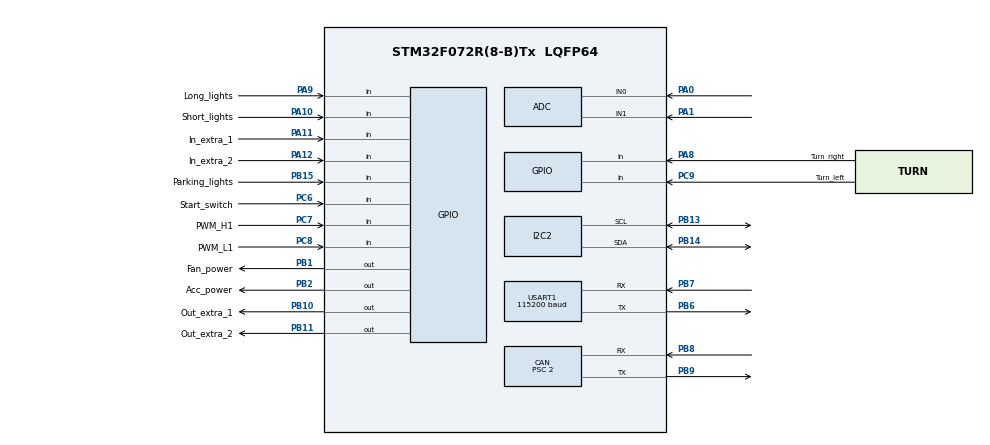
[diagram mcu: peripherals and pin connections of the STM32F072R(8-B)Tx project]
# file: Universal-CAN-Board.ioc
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CAN.BS1=CAN_BS1_4TQ
CAN.BS2=CAN_BS2_8TQ
CAN.CalculateBaudRate=307692
CAN.CalculateTimeBit=3250
CAN.CalculateTimeQuantum=250.0
CAN.Prescaler=2
Mcu.Family=STM32F0
Mcu.Name=STM32F072R(8-B)Tx
Mcu.Package=LQFP64
PA0.Mode=IN0
PA0.Signal=ADC_IN0
PA1.Mode=IN1
PA1.Signal=ADC_IN1
PA10.GPIO_Label=Short_lights
PA10.Signal=GPIO_Input
PA11.GPIO_Label=In_extra_1
PA11.Signal=GPIO_Input
PA12.GPIO_Label=In_extra_2
PA12.Signal=GPIO_Input
PA13.Mode=Serial_Wire
PA13.Signal=SYS_SWDIO
PA14.Mode=Serial_Wire
PA14.Signal=SYS_SWCLK
PA8.GPIO_Label=Turn_right
PA8.Signal=GPIO_Input
PA9.GPIO_Label=Long_lights
PA9.Signal=GPIO_Input
PB1.GPIO_Label=Fan_power
PB1.Signal=GPIO_Output
PB10.GPIO_Label=Out_extra_1
PB10.Signal=GPIO_Output
PB11.GPIO_Label=Out_extra_2
PB11.Signal=GPIO_Output
PB13.Mode=I2C
PB13.Signal=I2C2_SCL
PB14.Mode=I2C
PB14.Signal=I2C2_SDA
PB15.GPIO_Label=Parking_lights
PB15.Signal=GPIO_Input
PB2.GPIO_Label=Acc_power
PB2.Signal=GPIO_Output
PB6.Mode=Asynchronous
PB6.Signal=USART1_TX
PB7.Mode=Asynchronous
PB7.Signal=USART1_RX
PB8.Mode=CAN_Activate
PB8.Signal=CAN_RX
PB9.Mode=CAN_Activate
PB9.Signal=CAN_TX
PC6.GPIO_Label=Start_switch
PC6.Signal=GPIO_Input
PC7.GPIO_Label=PWM_H1
PC7.Signal=GPIO_Input
PC8.GPIO_Label=PWM_L1
PC8.Signal=GPIO_Input
PC9.GPIO_Label=Turn_left
PC9.Signal=GPIO_Input
PF0-OSC_IN.Mode=HSE-External-Oscillator
PF0-OSC_IN.Signal=RCC_OSC_IN
PF1-OSC_OUT.Mode=HSE-External-Oscillator
PF1-OSC_OUT.Signal=RCC_OSC_OUT
ProjectManager.HeapSize=0x200
ProjectManager.StackSize=0x400
ProjectManager.TargetToolchain=STM32CubeIDE
USART1.BaudRate=115200
USART1.VirtualMode-Asynchronous=VM_ASYNC
board=custom

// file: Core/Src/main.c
/* USER CODE BEGIN Header */
/**
  ******************************************************************************
  * @file           : main.c
  * @brief          : Main program body
  ******************************************************************************
  * @attention
  *
  * Copyright (c) 2022 STMicroelectronics.
  * All rights reserved.
  *
  * This software is licensed under terms that can be found in the LICENSE file
  * in the root directory of this software component.
  * If no LICENSE file comes with this software, it is provided AS-IS.
  *
  ******************************************************************************
  */
/* USER CODE END Header */
#include "main.h"
#include "adc.h"
#include "can.h"
#include "i2c.h"
#include "usart.h"
#include "gpio.h"

/* USER CODE BEGIN PV */
CAN_TxHeaderTypeDef TxHeader;

uint8_t TxData[8];

uint32_t TxMbox;

/* USER CODE END PV */

void SystemClock_Config(void);

/* USER CODE BEGIN 0 */
void CANSend(CAN_TxHeaderTypeDef TxHeader, uint8_t *Data_to_be_sent)
{
	char wiad[32];

	if (HAL_CAN_AddTxMessage(&hcan, &TxHeader, Data_to_be_sent, &TxMbox) != HAL_OK)
	{
		sprintf(wiad, "Wiad wysl nies\n");
		HAL_UART_Transmit(&huart1, (uint8_t*)wiad, strlen(wiad), HAL_MAX_DELAY);
	    Error_Handler ();
	}
	else
	{
		sprintf(wiad, "Wiad wysl\n\r");
		HAL_UART_Transmit(&huart1, (uint8_t*)wiad, strlen(wiad), HAL_MAX_DELAY);

	}
	while(HAL_CAN_IsTxMessagePending(&hcan, TxMbox));
}

void packIn(int inputOne, int inputTwo,int inputThree, int inputFour, int inputFive, int inputSix, int inputSeven, int inputEight)
{
	TxData[0] = inputOne;
	TxData[1] = inputTwo;
	TxData[2] = inputThree;
	TxData[3] = inputFour;
	TxData[4] = inputFive;
	TxData[5] = inputSix;
	TxData[6] = inputSeven;
	TxData[7] = inputEight;

}

void In()
{
	int Short_lights = HAL_GPIO_ReadPin(GPIOA,GPIO_PIN_10);
	int Long_lights = HAL_GPIO_ReadPin(GPIOA,GPIO_PIN_9);
	int Turn_right = HAL_GPIO_ReadPin(GPIOA,GPIO_PIN_8);
	int Turn_left = HAL_GPIO_ReadPin(GPIOC,GPIO_PIN_9);
	int PWM_L1 = HAL_GPIO_ReadPin(GPIOC,GPIO_PIN_8);
	int PWM_H1 = HAL_GPIO_ReadPin(GPIOC,GPIO_PIN_7);
	int Start_switch = HAL_GPIO_ReadPin(GPIOC,GPIO_PIN_6);
	int Parking_lights = HAL_GPIO_ReadPin(GPIOB,GPIO_PIN_15);

	packIn(Short_lights, Long_lights, Turn_right, Turn_left, PWM_L1, PWM_H1, Start_switch, Parking_lights);
}

/* USER CODE END 0 */

int main(void)
{

  /* MCU Configuration--------------------------------------------------------*/

  /* Reset of all peripherals, Initializes the Flash interface and the Systick. */
  HAL_Init();

  /* Configure the system clock */
  SystemClock_Config();

  /* Initialize all configured peripherals */
  MX_GPIO_Init();
  MX_ADC_Init();
  MX_CAN_Init();
  MX_I2C2_Init();
  MX_USART1_UART_Init();
  /* USER CODE BEGIN 2 */
  HAL_CAN_Init(&hcan);

  HAL_CAN_ActivateNotification(&hcan, CAN_IT_RX_FIFO0_MSG_PENDING);
   HAL_CAN_Start(&hcan);

   TxHeader.DLC = 8;
   TxHeader.IDE = CAN_ID_STD;
   TxHeader.RTR = CAN_RTR_DATA;
   TxHeader.StdId = 0x500;

  /* USER CODE END 2 */

  /* Infinite loop */
  /* USER CODE BEGIN WHILE */
  while (1)
  {
	  In();
	  CANSend(TxHeader, TxData);

    /* USER CODE END WHILE */

  }
}

void SystemClock_Config(void)
{
  RCC_OscInitTypeDef RCC_OscInitStruct = {0};
  RCC_ClkInitTypeDef RCC_ClkInitStruct = {0};
  RCC_PeriphCLKInitTypeDef PeriphClkInit = {0};

  /** Initializes the RCC Oscillators according to the specified parameters
  * in the RCC_OscInitTypeDef structure.
  */
  RCC_OscInitStruct.OscillatorType = RCC_OSCILLATORTYPE_HSI|RCC_OSCILLATORTYPE_HSI14;
  RCC_OscInitStruct.HSIState = RCC_HSI_ON;
  RCC_OscInitStruct.HSI14State = RCC_HSI14_ON;
  RCC_OscInitStruct.HSICalibrationValue = RCC_HSICALIBRATION_DEFAULT;
  RCC_OscInitStruct.HSI14CalibrationValue = 16;
  RCC_OscInitStruct.PLL.PLLState = RCC_PLL_NONE;
  if (HAL_RCC_OscConfig(&RCC_OscInitStruct) != HAL_OK)
  {
    Error_Handler();
  }

  /** Initializes the CPU, AHB and APB buses clocks
  */
  RCC_ClkInitStruct.ClockType = RCC_CLOCKTYPE_HCLK|RCC_CLOCKTYPE_SYSCLK
                              |RCC_CLOCKTYPE_PCLK1;
  RCC_ClkInitStruct.SYSCLKSource = RCC_SYSCLKSOURCE_HSI;
  RCC_ClkInitStruct.AHBCLKDivider = RCC_SYSCLK_DIV1;
  RCC_ClkInitStruct.APB1CLKDivider = RCC_HCLK_DIV1;

  if (HAL_RCC_ClockConfig(&RCC_ClkInitStruct, FLASH_LATENCY_0) != HAL_OK)
  {
    Error_Handler();
  }
  PeriphClkInit.PeriphClockSelection = RCC_PERIPHCLK_USART1;
  PeriphClkInit.Usart1ClockSelection = RCC_USART1CLKSOURCE_PCLK1;
  if (HAL_RCCEx_PeriphCLKConfig(&PeriphClkInit) != HAL_OK)
  {
    Error_Handler();
  }
}

void Error_Handler(void)
{
  __disable_irq();
  while (1)
  {
  }
}
